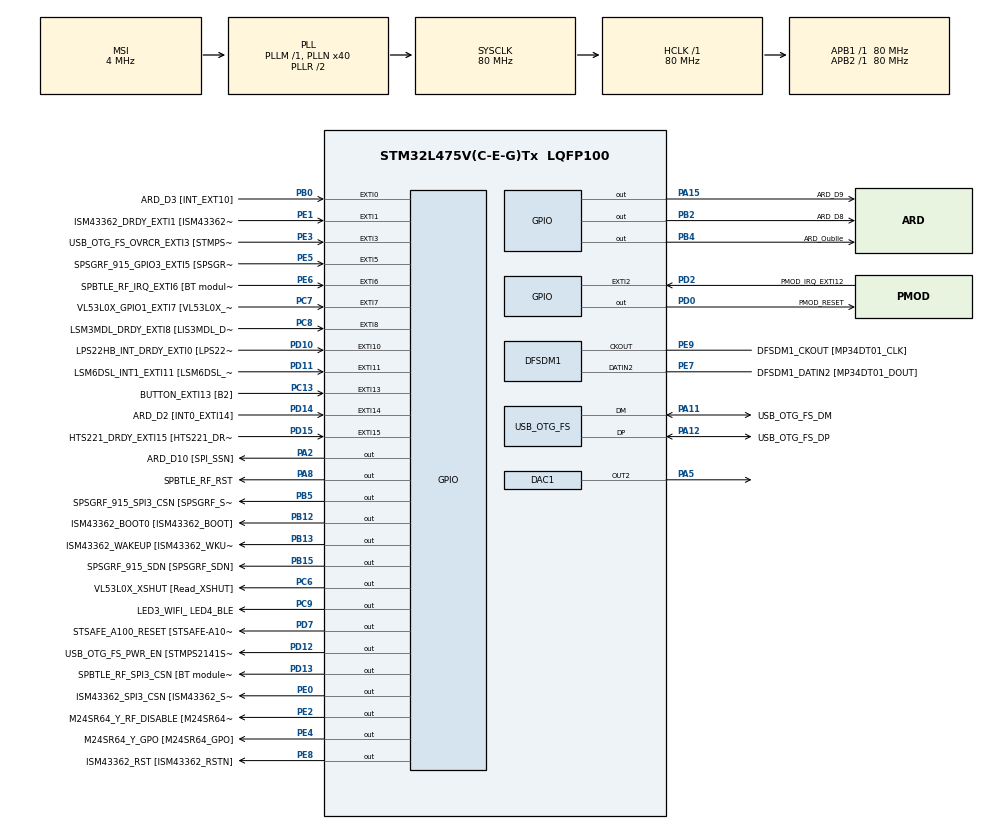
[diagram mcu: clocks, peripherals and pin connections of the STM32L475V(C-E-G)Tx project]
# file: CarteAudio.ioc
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PD12.GPIO_Label=USB_OTG_FS_PWR_EN [STMPS2141STR_EN]
PC12.Signal=SPI3_MOSI
PB14.GPIO_Label=LED2_PWM
PC6.GPIO_Label=VL53L0X_XSHUT [Read_XSHUT]
PA6.GPIO_Label=ARD_D12 [SPI1_MISO]
PB6.GPIO_Label=ST_LINK_UART1_TX
Dma.DFSDM1_FLT1.1.Direction=DMA_PERIPH_TO_MEMORY
PA15\ (JTDI).Signal=GPIO_Output
PC15-OSC32_OUT\ (PC15).Mode=LSE-External-Oscillator
Dma.DFSDM1_FLT0.0.MemDataAlignment=DMA_MDATAALIGN_WORD
PB13.Signal=GPIO_Output
PD6.GPIO_Label=PMOD_UART2_RX
PE6.GPIO_Label=SPBTLE_RF_IRQ_EXTI6 [BT module_SPI_IRQ]
RCC.SYSCLKSource=RCC_SYSCLKSOURCE_PLLCLK
PC14-OSC32_IN\ (PC14).Mode=LSE-External-Oscillator
SH.ADCx_IN16.0=ADC1_IN16
PA14\ (JTCK-SWCLK).Signal=SYS_JTCK-SWCLK
USB_DEVICE.PID_AUDIO_FS=0x5740
Dma.TIM2_UP.3.PeriphInc=DMA_PINC_DISABLE
Dma.TIM2_UP.3.Direction=DMA_PERIPH_TO_MEMORY
PD4.Signal=USART2_RTS
RCC.APB2TimFreq_Value=80000000
PB6.Signal=USART1_TX
PC7.Signal=GPXTI7
PC3.Signal=ADCx_IN4
PD0.Signal=GPIO_Output
PD8.Signal=USART3_TX
PE5.Signal=GPXTI5
PE1.Signal=GPXTI1
NVIC.EXTI15_10_IRQn=true\:0\:0\:false\:false\:true\:true\:true
DFSDM1.Iosr_FIL0=1
PB2.Signal=GPIO_Output
PD1.GPIO_Label=PMOD_SPI2_SCK
PB12.GPIO_Label=ISM43362_BOOT0 [ISM43362_BOOT]
Dma.TIM2_UP.3.Mode=DMA_CIRCULAR
Dma.DFSDM1_FLT0.0.Instance=DMA1_Channel4
PC4.GPIO_Label=ARD_A1 [ADC]
RCC.SAI1CLockSelection=RCC_SAI1CLKSOURCE_PLLSAI2
PE9.Signal=S_CKOUTDFSDM1
PB1.GPIO_Label=ARD_D6 [ADC1_IN6]
PE4.GPIO_Label=M24SR64_Y_GPO [M24SR64_GPO]
PE2.Signal=GPIO_Output
PA8.Signal=GPIO_Output
DFSDM1.Fosr_FIL0=64
PE10.Signal=QUADSPI_CLK
DFSDM1.Fosr_FIL1=64
DFSDM1.Fosr_FIL2=8
PA0.Signal=UART4_TX
Dma.TIM2_UP.3.PeriphDataAlignment=DMA_PDATAALIGN_HALFWORD
Dma.DAC_CH2.2.PeriphDataAlignment=DMA_PDATAALIGN_HALFWORD
Mcu.Package=LQFP100
PB9.Signal=I2C1_SDA
DFSDM1.Trigger_reg_FIL1=DFSDM_FILTER_SYNC_TRIGGER
TIM2.Prescaler=0
PB1.Signal=ADCx_IN16
SH.ADCx_IN14.0=ADC1_IN14
PD12.Signal=GPIO_Output
Dma.DFSDM1_FLT1.1.MemDataAlignment=DMA_MDATAALIGN_WORD
Dma.DFSDM1_FLT1.1.PeriphDataAlignment=DMA_PDATAALIGN_WORD
PA10.Signal=USB_OTG_FS_ID
PE12.GPIO_Label=OQUADSPI_BK1_IO0 [MX25R6435F_IO0]
SH.ADCx_IN9.0=ADC1_IN9
RCC.APB1TimFreq_Value=80000000
Dma.DFSDM1_FLT2.4.MemDataAlignment=DMA_MDATAALIGN_WORD
NVIC.DMA1_Channel4_IRQn=true\:0\:0\:false\:false\:true\:false\:true
Dma.DFSDM1_FLT2.4.Mode=DMA_CIRCULAR
PA13\ (JTMS-SWDIO).Signal=SYS_JTMS-SWDIO
PE10.GPIO_Label=QUADSPI_CLK [MX25R6435F_SCLK]
PA4.GPIO_Label=ARD_D7
PD15.Signal=GPXTI15
Dma.DAC_CH2.2.Direction=DMA_MEMORY_TO_PERIPH
NVIC.DMA1_Channel6_IRQn=true\:0\:0\:false\:false\:true\:false\:true
DAC1.DAC_Channel-DAC_OUT2=DAC_CHANNEL_2
PD9.GPIO_Label=INTERNAL_UART3_RX [ISM43362_TX]
Dma.TIM2_UP.3.MemDataAlignment=DMA_MDATAALIGN_HALFWORD
PA9.GPIO_Label=USB_OTG_FS_VBUS [STMPS2141STR_OUT]
PC13.Signal=GPXTI13
PD3.Signal=USART2_CTS
PC2.Signal=ADCx_IN3
PC6.Signal=GPIO_Output
PB11.GPIO_Label=INTERNAL_I2C2_SDA [VL53L0X_SDA]
Dma.DFSDM1_FLT0.0.Priority=DMA_PRIORITY_VERY_HIGH
PD7.Signal=GPIO_Output
PD1.Signal=SPI2_SCK
PA11.GPIO_Label=USB_OTG_FS_DM
Dma.DFSDM1_FLT1.1.MemInc=DMA_MINC_ENABLE
PC0.Signal=ADCx_IN1
Dma.DFSDM1_FLT1.1.PeriphInc=DMA_PINC_DISABLE
Dma.DFSDM1_FLT2.4.MemInc=DMA_MINC_ENABLE
PD10.Signal=GPXTI10
PB8.GPIO_Label=ARD_D15 [I2C1_SCL]
PA8.GPIO_Label=SPBTLE_RF_RST
DFSDM1.SpiClock_internal_CH1=DFSDM_CHANNEL_SPI_CLOCK_INTERNAL
DFSDM1.SpiClock_internal_CH2=DFSDM_CHANNEL_SPI_CLOCK_INTERNAL
USB_DEVICE.VID=0x483
PE8.GPIO_Label=ISM43362_RST [ISM43362_RSTN]
PA9.Signal=USB_OTG_FS_VBUS
PE9.GPIO_Label=DFSDM1_CKOUT [MP34DT01_CLK]
PB10.Signal=I2C2_SCL
PB14.Signal=S_TIM15_CH1
PA5.Signal=COMP_DAC12_group
PE1.GPIO_Label=ISM43362_DRDY_EXTI1 [ISM43362_DATARDY]
SH.S_TIM15_CH1.0=TIM15_CH1
PE14.Signal=QUADSPI_BK1_IO2
PE15.Signal=QUADSPI_BK1_IO3
PB15.GPIO_Label=SPSGRF_915_SDN [SPSGRF_SDN]
PE8.Signal=GPIO_Output
DFSDM1.Offset_CH2=0
PA1.GPIO_Label=ARD_D0 [UART4_RX]
DFSDM1.Offset_CH1=0
SH.ADCx_IN4.0=ADC1_IN4
TIM2.Period=1666
Dma.DAC_CH2.2.Instance=DMA2_Channel5
PC7.GPIO_Label=VL53L0X_GPIO1_EXTI7 [VL53L0X_GPIO1]
PA13\ (JTMS-SWDIO).Mode=Serial_Wire
PA4.Signal=ADCx_IN9
PB5.Signal=GPIO_Output
PE13.GPIO_Label=QUADSPI_BK1_IO1 [MX25R6435F_IO1]
PD11.Signal=GPXTI11
PE5.GPIO_Label=SPSGRF_915_GPIO3_EXTI5 [SPSGRF_GPIO_3]
PC12.GPIO_Label=INTERNAL_SPI3_MOSI [BT module_SPI_MOSI] [ISM43362_MOSI]
PA11.Signal=USB_OTG_FS_DM
Dma.DAC_CH2.2.Mode=DMA_CIRCULAR
ProjectManager.HeapSize=0x200
DFSDM1.DmaMode_reg_FIL1=ENABLE
Dma.DFSDM1_FLT2.4.Direction=DMA_PERIPH_TO_MEMORY
DFSDM1.DmaMode_reg_FIL2=ENABLE
NVIC.PriorityGroup=NVIC_PRIORITYGROUP_4
DFSDM1.DmaMode_reg_FIL0=ENABLE
PE3.Signal=GPXTI3
DFSDM1.Divider=8
PC3.GPIO_Label=ARD_A2 [ADC]
PB4\ (NJTRST).GPIO_Label=ARD_Oublie
PD2.Signal=GPXTI2
Dma.DAC_CH2.2.PeriphInc=DMA_PINC_DISABLE
PB0.Signal=GPXTI0
PC1.Signal=ADCx_IN2
PD2.GPIO_Label=PMOD_IRQ_EXTI12
Mcu.Family=STM32L4
USB_DEVICE.CLASS_NAME_FS=AUDIO
RCC.CortexFreq_Value=80000000
NVIC.DMA1_Channel5_IRQn=true\:0\:0\:false\:false\:true\:false\:true
SH.COMP_DAC12_group.0=DAC1_OUT2,DAC_OUT2
PE11.GPIO_Label=QUADSPI_NCS [MX25R6435F_SCLK]
SH.ADCx_IN2.0=ADC1_IN2
PC10.Signal=SPI3_SCK
PA0.GPIO_Label=ARD_D1 [UART4_TX]
Dma.DFSDM1_FLT1.1.Mode=DMA_CIRCULAR
PC0.GPIO_Label=ARD_A5 [ADC]
PD0.GPIO_Label=PMOD_RESET
PA11.Mode=Device_Only
PB0.GPIO_Label=ARD_D3 [INT_EXT10]
Dma.DFSDM1_FLT0.0.Mode=DMA_CIRCULAR
PC13.GPIO_Label=BUTTON_EXTI13 [B2]
PB13.GPIO_Label=ISM43362_WAKEUP [ISM43362_WKUP]
PB11.Signal=I2C2_SDA
Dma.DFSDM1_FLT1.1.Instance=DMA1_Channel5
PB15.Signal=GPIO_Output
Dma.TIM2_UP.3.Priority=DMA_PRIORITY_LOW
ProjectManager.StackSize=0x400
PB3\ (JTDO-TRACESWO).Signal=SYS_JTDO-SWO
PD13.Signal=GPIO_Output
Dma.DFSDM1_FLT2.4.Instance=DMA1_Channel6
PA12.Signal=USB_OTG_FS_DP
DFSDM1.Selection=DFSDM_CHANNEL_OUTPUT_CLOCK_AUDIO
PD11.GPIO_Label=LSM6DSL_INT1_EXTI11 [LSM6DSL_INT1]
RCC.HCLKFreq_Value=80000000
SH.ADCx_IN3.0=ADC1_IN3
PB5.PinState=GPIO_PIN_SET
RCC.AHBFreq_Value=80000000
NVIC.DMA2_Channel5_IRQn=true\:0\:0\:false\:false\:true\:false\:true
RCC.HSE_VALUE=8000000
Dma.DFSDM1_FLT0.0.Direction=DMA_PERIPH_TO_MEMORY
Dma.DAC_CH2.2.MemInc=DMA_MINC_ENABLE
DFSDM1.FastMode_reg_FIL2=ENABLE
DFSDM1.FastMode_reg_FIL1=ENABLE
DFSDM1.FastMode_reg_FIL0=ENABLE
PE13.Signal=QUADSPI_BK1_IO1
PC11.GPIO_Label=INTERNAL_SPI3_MISO [BT module_SPI_MISO] [ISM43362_MISO]
PA10.GPIO_Label=USB_OTG_FS_ID
RCC.PLLSAI2N=43
PB7.Signal=USART1_RX
Dma.DFSDM1_FLT2.4.PeriphInc=DMA_PINC_DISABLE
DFSDM1.RightBitShift_CH2=0
DFSDM1.RightBitShift_CH1=0
PE4.Signal=GPIO_Output
PD7.GPIO_Label=STSAFE_A100_RESET [STSAFE-A100_RESET]
PB7.GPIO_Label=ST_LINK_UART1_RX
PD13.GPIO_Label=SPBTLE_RF_SPI3_CSN [BT module_SPI_CS]
PA6.Signal=SPI1_MISO
PD5.GPIO_Label=PMOD_UART2_TX
NVIC.OTG_FS_IRQn=true\:0\:0\:false\:false\:true\:false\:true
PA2.GPIO_Label=ARD_D10 [SPI_SSN]
USB_OTG_FS.VirtualMode=Device_Only
PE0.GPIO_Label=ISM43362_SPI3_CSN [ISM43362_SSN]
TIM2.TIM_MasterOutputTrigger=TIM_TRGO_UPDATE
SH.ADCx_IN1.0=ADC1_IN1
PB5.GPIO_Label=SPSGRF_915_SPI3_CSN [SPSGRF_SPI_CS]
Dma.Request2=DAC_CH2
Dma.Request1=DFSDM1_FLT1
Dma.Request4=DFSDM1_FLT2
Dma.Request3=TIM2_UP
PC5.Signal=ADCx_IN14
PD3.GPIO_Label=PMOD_UART2_CTS
PE7.Signal=S_DATAIN2DFSDM1
Dma.DFSDM1_FLT2.4.Priority=DMA_PRIORITY_HIGH
PD6.Signal=USART2_RX
Dma.Request0=DFSDM1_FLT0
PE2.GPIO_Label=M24SR64_Y_RF_DISABLE [M24SR64_RFDIS]
PC2.GPIO_Label=ARD_A3 [ADC]
Dma.DFSDM1_FLT2.4.PeriphDataAlignment=DMA_PDATAALIGN_WORD
DFSDM1.SincOrder_FIL0=DFSDM_FILTER_SINC3_ORDER
DFSDM1.SincOrder_FIL1=DFSDM_FILTER_SINC3_ORDER
RCC.PLLSAI1P=RCC_PLLP_DIV17
RCC.PLLSAI1N=24
PA3.Signal=S_TIM2_CH4
RCC.MSI_VALUE=4000000
PA14\ (JTCK-SWCLK).Mode=Serial_Wire
VP_DFSDM1_VS_IN3.Mode=Parallel_Input_ch3
SH.ADCx_IN13.0=ADC1_IN13
PD15.GPIO_Label=HTS221_DRDY_EXTI15 [HTS221_DRDY]
PB9.GPIO_Label=ARD_D14 [I2C1_SDA]
Dma.DFSDM1_FLT0.0.PeriphInc=DMA_PINC_DISABLE
PC10.GPIO_Label=INTERNAL_SPI3_SCK [BT module_SPI_SCLK] [ISM43362_SCK]
DFSDM1.FilterOrder_CH1=DFSDM_CHANNEL_FASTSINC_ORDER
PC9.GPIO_Label=LED3_WIFI_ LED4_BLE
USB_DEVICE.VirtualModeFS=Audio_FS
PC11.Signal=SPI3_MISO
SH.S_DATAIN2DFSDM1.1=DFSDM1_DATIN2,PDM_SPI_input_from_ch2_and_internal_clock
PC8.Signal=GPXTI8
PC4.Signal=ADCx_IN13
Dma.DFSDM1_FLT0.0.MemInc=DMA_MINC_ENABLE
SH.S_DATAIN2DFSDM1.0=DFSDM1_DATIN2,PDM_SPI_Input_from_ch12_and_Internal_Clock
Dma.DAC_CH2.2.MemDataAlignment=DMA_MDATAALIGN_HALFWORD
PE14.GPIO_Label=QUAD_SPI_BK1_IO2 [MX25R6435F_IO2]
PC15-OSC32_OUT\ (PC15).Signal=RCC_OSC32_OUT
PD9.Signal=USART3_RX
PD5.Signal=USART2_TX
PA14\ (JTCK-SWCLK).GPIO_Label=SYS_JTCK_SWCLK
PB3\ (JTDO-TRACESWO).GPIO_Label=SYS_JTD0_SWO
Dma.DAC_CH2.2.Priority=DMA_PRIORITY_VERY_HIGH
PA12.GPIO_Label=USB_OTG_FS_DP
PD8.GPIO_Label=INTERNAL_UART3_TX [ISM43362_RX]
PC8.GPIO_Label=LSM3MDL_DRDY_EXTI8 [LIS3MDL_DRDY]
PE0.PinState=GPIO_PIN_SET
PE15.GPIO_Label=QUAD_SPI_BK1_IO3 [MX25R6435F_IO3]
Dma.DFSDM1_FLT0.0.PeriphDataAlignment=DMA_PDATAALIGN_WORD
NVIC.DMA1_Channel2_IRQn=true\:0\:0\:false\:false\:true\:false\:true
ProjectManager.TargetToolchain=STM32CubeIDE
PB10.GPIO_Label=INTERNAL_I2C2_SCL [VL53L0X_SCL]
USB_DEVICE.USBD_AUDIO_FREQ=44000
DFSDM1.Type_spi_CH2=DFSDM_CHANNEL_SPI_FALLING
RCC.USBFreq_Value=48000000
PD10.GPIO_Label=LPS22HB_INT_DRDY_EXTI0 [LPS22HB_INT_DRDY] 
PE11.Signal=QUADSPI_NCS
PA1.Signal=UART4_RX
USB_DEVICE.LANGID_STRING=1033
board=B-L475E-IOT01A2
RCC.VCOOutputFreq_Value=160000000
RCC.APB2Freq_Value=80000000
PA13\ (JTMS-SWDIO).GPIO_Label=SYS_JTMS_SWDIO
VP_TIM2_VS_ClockSourceINT.Mode=Internal
PD4.GPIO_Label=PMOD_UART2_RTS
SH.S_CKOUTDFSDM1.0=DFSDM1_CKOUT,CKOUT
SH.S_CKOUTDFSDM1.1=DFSDM1_CKOUT,PDM_SPI_Input_from_ch12_and_Internal_Clock
RCC.ADCFreq_Value=48000000
PC1.GPIO_Label=ARD_A4 [ADC]
SH.S_CKOUTDFSDM1.2=DFSDM1_CKOUT,PDM_SPI_input_from_ch2_and_internal_clock
PD14.GPIO_Label=ARD_D2 [INT0_EXTI14]
DAC1.DAC_Trigger-DAC_OUT2=DAC_TRIGGER_T2_TRGO
VP_USB_DEVICE_VS_USB_DEVICE_AUDIO_FS.Mode=AUDIO_FS
PE6.Signal=GPXTI6
PA15\ (JTDI).GPIO_Label=ARD_D9
Mcu.Name=STM32L475V(C-E-G)Tx
PE0.Signal=GPIO_Output
PE7.GPIO_Label=DFSDM1_DATIN2 [MP34DT01_DOUT]
PE12.Signal=QUADSPI_BK1_IO0
PA2.Signal=GPIO_Output
Dma.DFSDM1_FLT1.1.Priority=DMA_PRIORITY_VERY_HIGH
PD14.Signal=GPXTI14
RCC.SYSCLKFreq_VALUE=80000000
Dma.TIM2_UP.3.Instance=DMA1_Channel2
PA7.GPIO_Label=ARD_D11 [SPI1_MOSI]
PA12.Mode=Device_Only
PC13.GPIO_ModeDefaultEXTI=GPIO_MODE_IT_FALLING
Dma.TIM2_UP.3.MemInc=DMA_MINC_DISABLE
PC5.GPIO_Label=ARD_A0 [ADC]
PC14-OSC32_IN\ (PC14).Signal=RCC_OSC32_IN
NVIC.EXTI9_5_IRQn=true\:0\:0\:false\:false\:true\:true\:true
PB2.GPIO_Label=ARD_D8
SH.S_TIM2_CH4.0=TIM2_CH4
RCC.HSI_VALUE=16000000
RCC.PLLP=RCC_PLLP_DIV17
RCC.PLLN=40
DFSDM1.Filter_regChannel_FIL3=__NULL
PB8.Signal=I2C1_SCL
DFSDM1.Filter_regChannel_FIL1=DFSDM_CHANNEL_2
PE3.GPIO_Label=USB_OTG_FS_OVRCR_EXTI3 [STMPS2141STR_FAULT]
DFSDM1.Filter_regChannel_FIL2=DFSDM_CHANNEL_3
PC9.Signal=GPIO_Output
PD13.PinState=GPIO_PIN_SET
DFSDM1.Filter_regChannel_FIL0=DFSDM_CHANNEL_1
RCC.APB1Freq_Value=80000000
USB_DEVICE.VirtualMode=Audio
PB12.Signal=GPIO_Output
PA3.GPIO_Label=ARD_D4
PA7.Signal=SPI1_MOSI
PB4\ (NJTRST).Signal=GPIO_Output

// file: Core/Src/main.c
/* USER CODE BEGIN Header */
/**
  ******************************************************************************
  * @file           : main.c
  * @brief          : Main program body
  ******************************************************************************
  * @attention
  *
  * <h2><center>&copy; Copyright (c) 2021 STMicroelectronics.
  * All rights reserved.</center></h2>
  *
  *  Pour la Carte B-L475E-IOTA01A2
  *   Fait un bypass audio  des micro mems vars une sortie audio DAC prendre la
  *   broche D13 du cinnecteur arduino pour brancher un casque
  *
  ******************************************************************************
  */
/* USER CODE END Header */
#include "main.h"
#include "usb_device.h"

DAC_HandleTypeDef hdac1;
DMA_HandleTypeDef hdma_dac_ch2;

DFSDM_Filter_HandleTypeDef hdfsdm1_filter0;
DFSDM_Filter_HandleTypeDef hdfsdm1_filter1;
DFSDM_Filter_HandleTypeDef hdfsdm1_filter2;
DFSDM_Channel_HandleTypeDef hdfsdm1_channel1;
DFSDM_Channel_HandleTypeDef hdfsdm1_channel2;
DFSDM_Channel_HandleTypeDef hdfsdm1_channel3;
DMA_HandleTypeDef hdma_dfsdm1_flt0;
DMA_HandleTypeDef hdma_dfsdm1_flt1;
DMA_HandleTypeDef hdma_dfsdm1_flt2;

TIM_HandleTypeDef htim2;
DMA_HandleTypeDef hdma_tim2_up;

/* USER CODE BEGIN PV */
u_int32_t duty =0xCACAACDC;
u_int32_t canari = 0xD0D0ABBA;
#define BUFF_LEN 8U
int32_t  buffin_0[BUFF_LEN];
int32_t  buffin_1[BUFF_LEN];
u_int16_t  buffout[BUFF_LEN];
int32_t  buffoutmoy[BUFF_LEN];

#define CONV_S32L_U32L(s) ( (u_int32_t) (s+(1<<31)) )
#define CONV_S32L_U16L(s) ( (u_int16_t) ((s>>9)+0x1000)  )
#define CONV_S32L_U32R(s) ( 0x3FF & ((u_int32_t) ( (s+(1<<(8+11))) >> 8)) )
#define CONV_S32L_U16R(s) ( 0x3FF & ((u_int16_t) ( (s+(1<<(8+11))) >> 9)) )
#define CONVERSION(s) CONV_S32L_U16L(s)
#define CONV_DAC_ALIGN DAC_ALIGN_12B_R
//#define AUDIO_DFSDM
// pour passer de la gestion des micro par le audio_in_out
// Commenté -> utilisation de la def des périph venant de CubeMX dans ce main
#ifndef AUDIO_DFSDM
void HAL_DFSDM_FilterRegConvCpltCallback(DFSDM_Filter_HandleTypeDef *hdfsdm_filter)
{
	if (hdfsdm_filter == & hdfsdm1_filter0)
	{
		for (u_int8_t i=(BUFF_LEN/2);i<BUFF_LEN;i++)
		{
			buffout[i]=CONVERSION(buffin_0[i]);
		}

	}
}

void HAL_DFSDM_FilterRegConvHalfCpltCallback(DFSDM_Filter_HandleTypeDef *hdfsdm_filter)
{
	if (hdfsdm_filter == & hdfsdm1_filter0)
	{
		for (u_int8_t i=0; i<(BUFF_LEN/2); i++)
		{
			buffout[i]=CONVERSION(buffin_0[i]);
		}

	}
}
#endif
/* USER CODE END PV */

void SystemClock_Config(void);
static void MX_GPIO_Init(void);
static void MX_DMA_Init(void);
static void MX_DFSDM1_Init(void);
static void MX_DAC1_Init(void);
static void MX_TIM2_Init(void);
/* USER CODE BEGIN PFP */
static HAL_StatusTypeDef HALSUCKS_TIM_Base_Start_DMA(TIM_HandleTypeDef *, uint32_t *, uint32_t*, uint16_t);
// Cube MX ne génère qu'un code qui fait un transfert DMA de Meme vers TIM_ARR LES NULS !
// Alors j'ai repris et refait aves une adresse source et une cible déclenché par TIM2_UP
/* USER CODE END PFP */

int main(void)
{

  /* MCU Configuration--------------------------------------------------------*/

  /* Reset of all peripherals, Initializes the Flash interface and the Systick. */
  HAL_Init();

  /* Configure the system clock */
  SystemClock_Config();

  /* Initialize all configured peripherals */
  MX_GPIO_Init();
  MX_DMA_Init();
  MX_DFSDM1_Init();
  MX_USB_DEVICE_Init();
  MX_DAC1_Init();
  MX_TIM2_Init();
  /* USER CODE BEGIN 2 */
  // c'était pour faire une sortie PWM sur la LED2...
  //__HAL_TIM_MOE_ENABLE(&htim15);
  //BSP_LED_Init(LED2);
  /* USER CODE END 2 */

  /* Infinite loop */
  /* USER CODE BEGIN WHILE */
  HAL_DAC_Start_DMA(&hdac1, DAC_CHANNEL_2, (u_int32_t *)&(buffout[0]),BUFF_LEN, CONV_DAC_ALIGN);
  HALSUCKS_TIM_Base_Start_DMA(&htim2,  (uint32_t *)&(hdfsdm1_filter0.Instance->FLTRDATAR), (u_int32_t *) &(hdfsdm1_channel3.Instance->CHDATINR),1);
  HAL_DFSDM_FilterRegularStart_DMA(&hdfsdm1_filter2, &(buffoutmoy[0]), BUFF_LEN);
  HAL_DFSDM_FilterRegularStart_DMA(&hdfsdm1_filter1, &(buffin_1[0]), BUFF_LEN);
  HAL_DFSDM_FilterRegularStart_DMA(&hdfsdm1_filter0, &(buffin_0[0]), BUFF_LEN);
  HAL_DAC_Start(&hdac1, DAC_CHANNEL_2);
  HAL_TIM_Base_Start(&htim2);

  while (1)
  {
	//HAL_Delay(1);

    /* USER CODE END WHILE */

  }
}

void SystemClock_Config(void)
{
  RCC_OscInitTypeDef RCC_OscInitStruct = {0};
  RCC_ClkInitTypeDef RCC_ClkInitStruct = {0};
  RCC_PeriphCLKInitTypeDef PeriphClkInit = {0};

  /** Configure LSE Drive Capability
  */
  HAL_PWR_EnableBkUpAccess();
  __HAL_RCC_LSEDRIVE_CONFIG(RCC_LSEDRIVE_LOW);
  /** Initializes the RCC Oscillators according to the specified parameters
  * in the RCC_OscInitTypeDef structure.
  */
  RCC_OscInitStruct.OscillatorType = RCC_OSCILLATORTYPE_LSE|RCC_OSCILLATORTYPE_MSI;
  RCC_OscInitStruct.LSEState = RCC_LSE_ON;
  RCC_OscInitStruct.MSIState = RCC_MSI_ON;
  RCC_OscInitStruct.MSICalibrationValue = 0;
  RCC_OscInitStruct.MSIClockRange = RCC_MSIRANGE_6;
  RCC_OscInitStruct.PLL.PLLState = RCC_PLL_ON;
  RCC_OscInitStruct.PLL.PLLSource = RCC_PLLSOURCE_MSI;
  RCC_OscInitStruct.PLL.PLLM = 1;
  RCC_OscInitStruct.PLL.PLLN = 40;
  RCC_OscInitStruct.PLL.PLLP = RCC_PLLP_DIV17;
  RCC_OscInitStruct.PLL.PLLQ = RCC_PLLQ_DIV2;
  RCC_OscInitStruct.PLL.PLLR = RCC_PLLR_DIV2;
  if (HAL_RCC_OscConfig(&RCC_OscInitStruct) != HAL_OK)
  {
    Error_Handler();
  }
  /** Initializes the CPU, AHB and APB buses clocks
  */
  RCC_ClkInitStruct.ClockType = RCC_CLOCKTYPE_HCLK|RCC_CLOCKTYPE_SYSCLK
                              |RCC_CLOCKTYPE_PCLK1|RCC_CLOCKTYPE_PCLK2;
  RCC_ClkInitStruct.SYSCLKSource = RCC_SYSCLKSOURCE_PLLCLK;
  RCC_ClkInitStruct.AHBCLKDivider = RCC_SYSCLK_DIV1;
  RCC_ClkInitStruct.APB1CLKDivider = RCC_HCLK_DIV1;
  RCC_ClkInitStruct.APB2CLKDivider = RCC_HCLK_DIV1;

  if (HAL_RCC_ClockConfig(&RCC_ClkInitStruct, FLASH_LATENCY_4) != HAL_OK)
  {
    Error_Handler();
  }
  PeriphClkInit.PeriphClockSelection = RCC_PERIPHCLK_SAI1|RCC_PERIPHCLK_DFSDM1
                              |RCC_PERIPHCLK_USB;
  PeriphClkInit.Sai1ClockSelection = RCC_SAI1CLKSOURCE_PLLSAI2;
  PeriphClkInit.Dfsdm1ClockSelection = RCC_DFSDM1CLKSOURCE_PCLK;
  PeriphClkInit.UsbClockSelection = RCC_USBCLKSOURCE_PLLSAI1;
  PeriphClkInit.PLLSAI2.PLLSAI2Source = RCC_PLLSOURCE_MSI;
  PeriphClkInit.PLLSAI2.PLLSAI2M = 1;
  PeriphClkInit.PLLSAI2.PLLSAI2N = 43;
  PeriphClkInit.PLLSAI2.PLLSAI2P = RCC_PLLP_DIV7;
  PeriphClkInit.PLLSAI2.PLLSAI2R = RCC_PLLR_DIV2;
  PeriphClkInit.PLLSAI2.PLLSAI2ClockOut = RCC_PLLSAI2_SAI2CLK;
  PeriphClkInit.PLLSAI1.PLLSAI1Source = RCC_PLLSOURCE_MSI;
  PeriphClkInit.PLLSAI1.PLLSAI1M = 1;
  PeriphClkInit.PLLSAI1.PLLSAI1N = 24;
  PeriphClkInit.PLLSAI1.PLLSAI1P = RCC_PLLP_DIV17;
  PeriphClkInit.PLLSAI1.PLLSAI1Q = RCC_PLLQ_DIV2;
  PeriphClkInit.PLLSAI1.PLLSAI1R = RCC_PLLR_DIV2;
  PeriphClkInit.PLLSAI1.PLLSAI1ClockOut = RCC_PLLSAI1_48M2CLK;
  if (HAL_RCCEx_PeriphCLKConfig(&PeriphClkInit) != HAL_OK)
  {
    Error_Handler();
  }
  /** Configure the main internal regulator output voltage
  */
  if (HAL_PWREx_ControlVoltageScaling(PWR_REGULATOR_VOLTAGE_SCALE1) != HAL_OK)
  {
    Error_Handler();
  }
  /** Enable MSI Auto calibration
  */
  HAL_RCCEx_EnableMSIPLLMode();
}

static void MX_DAC1_Init(void)
{

  DAC_ChannelConfTypeDef sConfig = {0};

  /** DAC Initialization
  */
  hdac1.Instance = DAC1;
  if (HAL_DAC_Init(&hdac1) != HAL_OK)
  {
    Error_Handler();
  }
  /** DAC channel OUT2 config
  */
  sConfig.DAC_SampleAndHold = DAC_SAMPLEANDHOLD_DISABLE;
  sConfig.DAC_Trigger = DAC_TRIGGER_T2_TRGO;
  sConfig.DAC_OutputBuffer = DAC_OUTPUTBUFFER_ENABLE;
  sConfig.DAC_ConnectOnChipPeripheral = DAC_CHIPCONNECT_DISABLE;
  sConfig.DAC_UserTrimming = DAC_TRIMMING_FACTORY;
  if (HAL_DAC_ConfigChannel(&hdac1, &sConfig, DAC_CHANNEL_2) != HAL_OK)
  {
    Error_Handler();
  }

}

static void MX_DFSDM1_Init(void)
{

  hdfsdm1_filter0.Instance = DFSDM1_Filter0;
  hdfsdm1_filter0.Init.RegularParam.Trigger = DFSDM_FILTER_SW_TRIGGER;
  hdfsdm1_filter0.Init.RegularParam.FastMode = ENABLE;
  hdfsdm1_filter0.Init.RegularParam.DmaMode = ENABLE;
  hdfsdm1_filter0.Init.FilterParam.SincOrder = DFSDM_FILTER_SINC3_ORDER;
  hdfsdm1_filter0.Init.FilterParam.Oversampling = 64;
  hdfsdm1_filter0.Init.FilterParam.IntOversampling = 1;
  if (HAL_DFSDM_FilterInit(&hdfsdm1_filter0) != HAL_OK)
  {
    Error_Handler();
  }
  hdfsdm1_filter1.Instance = DFSDM1_Filter1;
  hdfsdm1_filter1.Init.RegularParam.Trigger = DFSDM_FILTER_SYNC_TRIGGER;
  hdfsdm1_filter1.Init.RegularParam.FastMode = ENABLE;
  hdfsdm1_filter1.Init.RegularParam.DmaMode = ENABLE;
  hdfsdm1_filter1.Init.FilterParam.SincOrder = DFSDM_FILTER_SINC3_ORDER;
  hdfsdm1_filter1.Init.FilterParam.Oversampling = 64;
  hdfsdm1_filter1.Init.FilterParam.IntOversampling = 1;
  if (HAL_DFSDM_FilterInit(&hdfsdm1_filter1) != HAL_OK)
  {
    Error_Handler();
  }
  hdfsdm1_filter2.Instance = DFSDM1_Filter2;
  hdfsdm1_filter2.Init.RegularParam.Trigger = DFSDM_FILTER_SW_TRIGGER;
  hdfsdm1_filter2.Init.RegularParam.FastMode = ENABLE;
  hdfsdm1_filter2.Init.RegularParam.DmaMode = ENABLE;
  hdfsdm1_filter2.Init.FilterParam.SincOrder = DFSDM_FILTER_FASTSINC_ORDER;
  hdfsdm1_filter2.Init.FilterParam.Oversampling = 8;
  hdfsdm1_filter2.Init.FilterParam.IntOversampling = 1;
  if (HAL_DFSDM_FilterInit(&hdfsdm1_filter2) != HAL_OK)
  {
    Error_Handler();
  }
  hdfsdm1_channel1.Instance = DFSDM1_Channel1;
  hdfsdm1_channel1.Init.OutputClock.Activation = ENABLE;
  hdfsdm1_channel1.Init.OutputClock.Selection = DFSDM_CHANNEL_OUTPUT_CLOCK_AUDIO;
  hdfsdm1_channel1.Init.OutputClock.Divider = 8;
  hdfsdm1_channel1.Init.Input.Multiplexer = DFSDM_CHANNEL_EXTERNAL_INPUTS;
  hdfsdm1_channel1.Init.Input.DataPacking = DFSDM_CHANNEL_STANDARD_MODE;
  hdfsdm1_channel1.Init.Input.Pins = DFSDM_CHANNEL_FOLLOWING_CHANNEL_PINS;
  hdfsdm1_channel1.Init.SerialInterface.Type = DFSDM_CHANNEL_SPI_RISING;
  hdfsdm1_channel1.Init.SerialInterface.SpiClock = DFSDM_CHANNEL_SPI_CLOCK_INTERNAL;
  hdfsdm1_channel1.Init.Awd.FilterOrder = DFSDM_CHANNEL_FASTSINC_ORDER;
  hdfsdm1_channel1.Init.Awd.Oversampling = 1;
  hdfsdm1_channel1.Init.Offset = 0;
  hdfsdm1_channel1.Init.RightBitShift = 0;
  if (HAL_DFSDM_ChannelInit(&hdfsdm1_channel1) != HAL_OK)
  {
    Error_Handler();
  }
  hdfsdm1_channel2.Instance = DFSDM1_Channel2;
  hdfsdm1_channel2.Init.OutputClock.Activation = ENABLE;
  hdfsdm1_channel2.Init.OutputClock.Selection = DFSDM_CHANNEL_OUTPUT_CLOCK_AUDIO;
  hdfsdm1_channel2.Init.OutputClock.Divider = 8;
  hdfsdm1_channel2.Init.Input.Multiplexer = DFSDM_CHANNEL_EXTERNAL_INPUTS;
  hdfsdm1_channel2.Init.Input.DataPacking = DFSDM_CHANNEL_STANDARD_MODE;
  hdfsdm1_channel2.Init.Input.Pins = DFSDM_CHANNEL_SAME_CHANNEL_PINS;
  hdfsdm1_channel2.Init.SerialInterface.Type = DFSDM_CHANNEL_SPI_FALLING;
  hdfsdm1_channel2.Init.SerialInterface.SpiClock = DFSDM_CHANNEL_SPI_CLOCK_INTERNAL;
  hdfsdm1_channel2.Init.Awd.FilterOrder = DFSDM_CHANNEL_FASTSINC_ORDER;
  hdfsdm1_channel2.Init.Awd.Oversampling = 1;
  hdfsdm1_channel2.Init.Offset = 0;
  hdfsdm1_channel2.Init.RightBitShift = 0;
  if (HAL_DFSDM_ChannelInit(&hdfsdm1_channel2) != HAL_OK)
  {
    Error_Handler();
  }
  hdfsdm1_channel3.Instance = DFSDM1_Channel3;
  hdfsdm1_channel3.Init.OutputClock.Activation = ENABLE;
  hdfsdm1_channel3.Init.OutputClock.Selection = DFSDM_CHANNEL_OUTPUT_CLOCK_AUDIO;
  hdfsdm1_channel3.Init.OutputClock.Divider = 8;
  hdfsdm1_channel3.Init.Input.Multiplexer = DFSDM_CHANNEL_INTERNAL_REGISTER;
  hdfsdm1_channel3.Init.Input.DataPacking = DFSDM_CHANNEL_STANDARD_MODE;
  hdfsdm1_channel3.Init.Input.Pins = DFSDM_CHANNEL_SAME_CHANNEL_PINS;
  hdfsdm1_channel3.Init.SerialInterface.Type = DFSDM_CHANNEL_SPI_RISING;
  hdfsdm1_channel3.Init.SerialInterface.SpiClock = DFSDM_CHANNEL_SPI_CLOCK_EXTERNAL;
  hdfsdm1_channel3.Init.Awd.FilterOrder = DFSDM_CHANNEL_FASTSINC_ORDER;
  hdfsdm1_channel3.Init.Awd.Oversampling = 1;
  hdfsdm1_channel3.Init.Offset = 0x00;
  hdfsdm1_channel3.Init.RightBitShift = 0x00;
  if (HAL_DFSDM_ChannelInit(&hdfsdm1_channel3) != HAL_OK)
  {
    Error_Handler();
  }
  if (HAL_DFSDM_FilterConfigRegChannel(&hdfsdm1_filter0, DFSDM_CHANNEL_1, DFSDM_CONTINUOUS_CONV_ON) != HAL_OK)
  {
    Error_Handler();
  }
  if (HAL_DFSDM_FilterConfigRegChannel(&hdfsdm1_filter1, DFSDM_CHANNEL_2, DFSDM_CONTINUOUS_CONV_ON) != HAL_OK)
  {
    Error_Handler();
  }
  if (HAL_DFSDM_FilterConfigRegChannel(&hdfsdm1_filter2, DFSDM_CHANNEL_3, DFSDM_CONTINUOUS_CONV_ON) != HAL_OK)
  {
    Error_Handler();
  }

}

static void MX_TIM2_Init(void)
{

  TIM_ClockConfigTypeDef sClockSourceConfig = {0};
  TIM_MasterConfigTypeDef sMasterConfig = {0};

  htim2.Instance = TIM2;
  htim2.Init.Prescaler = 0;
  htim2.Init.CounterMode = TIM_COUNTERMODE_UP;
  htim2.Init.Period = 1666;
  htim2.Init.ClockDivision = TIM_CLOCKDIVISION_DIV1;
  htim2.Init.AutoReloadPreload = TIM_AUTORELOAD_PRELOAD_DISABLE;
  if (HAL_TIM_Base_Init(&htim2) != HAL_OK)
  {
    Error_Handler();
  }
  sClockSourceConfig.ClockSource = TIM_CLOCKSOURCE_INTERNAL;
  if (HAL_TIM_ConfigClockSource(&htim2, &sClockSourceConfig) != HAL_OK)
  {
    Error_Handler();
  }
  sMasterConfig.MasterOutputTrigger = TIM_TRGO_UPDATE;
  sMasterConfig.MasterSlaveMode = TIM_MASTERSLAVEMODE_DISABLE;
  if (HAL_TIMEx_MasterConfigSynchronization(&htim2, &sMasterConfig) != HAL_OK)
  {
    Error_Handler();
  }

}

static void MX_DMA_Init(void)
{

  /* DMA controller clock enable */
  __HAL_RCC_DMA1_CLK_ENABLE();
  __HAL_RCC_DMA2_CLK_ENABLE();

  /* DMA interrupt init */
  /* DMA1_Channel2_IRQn interrupt configuration */
  HAL_NVIC_SetPriority(DMA1_Channel2_IRQn, 0, 0);
  HAL_NVIC_EnableIRQ(DMA1_Channel2_IRQn);
  /* DMA1_Channel4_IRQn interrupt configuration */
  HAL_NVIC_SetPriority(DMA1_Channel4_IRQn, 0, 0);
  HAL_NVIC_EnableIRQ(DMA1_Channel4_IRQn);
  /* DMA1_Channel5_IRQn interrupt configuration */
  HAL_NVIC_SetPriority(DMA1_Channel5_IRQn, 0, 0);
  HAL_NVIC_EnableIRQ(DMA1_Channel5_IRQn);
  /* DMA1_Channel6_IRQn interrupt configuration */
  HAL_NVIC_SetPriority(DMA1_Channel6_IRQn, 0, 0);
  HAL_NVIC_EnableIRQ(DMA1_Channel6_IRQn);
  /* DMA2_Channel5_IRQn interrupt configuration */
  HAL_NVIC_SetPriority(DMA2_Channel5_IRQn, 0, 0);
  HAL_NVIC_EnableIRQ(DMA2_Channel5_IRQn);

}

static void MX_GPIO_Init(void)
{
  GPIO_InitTypeDef GPIO_InitStruct = {0};

  /* GPIO Ports Clock Enable */
  __HAL_RCC_GPIOE_CLK_ENABLE();
  __HAL_RCC_GPIOC_CLK_ENABLE();
  __HAL_RCC_GPIOA_CLK_ENABLE();
  __HAL_RCC_GPIOB_CLK_ENABLE();
  __HAL_RCC_GPIOD_CLK_ENABLE();

  /*Configure GPIO pin Output Level */
  HAL_GPIO_WritePin(GPIOE, M24SR64_Y_RF_DISABLE_Pin|M24SR64_Y_GPO_Pin|ISM43362_RST_Pin, GPIO_PIN_RESET);

  /*Configure GPIO pin Output Level */
  HAL_GPIO_WritePin(GPIOA, ARD_D10_Pin|SPBTLE_RF_RST_Pin|ARD_D9_Pin, GPIO_PIN_RESET);

  /*Configure GPIO pin Output Level */
  HAL_GPIO_WritePin(GPIOB, ARD_D8_Pin|ISM43362_BOOT0_Pin|ISM43362_WAKEUP_Pin|SPSGRF_915_SDN_Pin
                          |ARD_Oublie_Pin, GPIO_PIN_RESET);

  /*Configure GPIO pin Output Level */
  HAL_GPIO_WritePin(GPIOD, USB_OTG_FS_PWR_EN_Pin|PMOD_RESET_Pin|STSAFE_A100_RESET_Pin, GPIO_PIN_RESET);

  /*Configure GPIO pin Output Level */
  HAL_GPIO_WritePin(SPBTLE_RF_SPI3_CSN_GPIO_Port, SPBTLE_RF_SPI3_CSN_Pin, GPIO_PIN_SET);

  /*Configure GPIO pin Output Level */
  HAL_GPIO_WritePin(GPIOC, VL53L0X_XSHUT_Pin|LED3_WIFI__LED4_BLE_Pin, GPIO_PIN_RESET);

  /*Configure GPIO pin Output Level */
  HAL_GPIO_WritePin(SPSGRF_915_SPI3_CSN_GPIO_Port, SPSGRF_915_SPI3_CSN_Pin, GPIO_PIN_SET);

  /*Configure GPIO pin Output Level */
  HAL_GPIO_WritePin(ISM43362_SPI3_CSN_GPIO_Port, ISM43362_SPI3_CSN_Pin, GPIO_PIN_SET);

  /*Configure GPIO pins : M24SR64_Y_RF_DISABLE_Pin M24SR64_Y_GPO_Pin ISM43362_RST_Pin ISM43362_SPI3_CSN_Pin */
  GPIO_InitStruct.Pin = M24SR64_Y_RF_DISABLE_Pin|M24SR64_Y_GPO_Pin|ISM43362_RST_Pin|ISM43362_SPI3_CSN_Pin;
  GPIO_InitStruct.Mode = GPIO_MODE_OUTPUT_PP;
  GPIO_InitStruct.Pull = GPIO_NOPULL;
  GPIO_InitStruct.Speed = GPIO_SPEED_FREQ_LOW;
  HAL_GPIO_Init(GPIOE, &GPIO_InitStruct);

  /*Configure GPIO pins : USB_OTG_FS_OVRCR_EXTI3_Pin SPSGRF_915_GPIO3_EXTI5_Pin SPBTLE_RF_IRQ_EXTI6_Pin ISM43362_DRDY_EXTI1_Pin */
  GPIO_InitStruct.Pin = USB_OTG_FS_OVRCR_EXTI3_Pin|SPSGRF_915_GPIO3_EXTI5_Pin|SPBTLE_RF_IRQ_EXTI6_Pin|ISM43362_DRDY_EXTI1_Pin;
  GPIO_InitStruct.Mode = GPIO_MODE_IT_RISING;
  GPIO_InitStruct.Pull = GPIO_NOPULL;
  HAL_GPIO_Init(GPIOE, &GPIO_InitStruct);

  /*Configure GPIO pin : BUTTON_EXTI13_Pin */
  GPIO_InitStruct.Pin = BUTTON_EXTI13_Pin;
  GPIO_InitStruct.Mode = GPIO_MODE_IT_FALLING;
  GPIO_InitStruct.Pull = GPIO_NOPULL;
  HAL_GPIO_Init(BUTTON_EXTI13_GPIO_Port, &GPIO_InitStruct);

  /*Configure GPIO pins : ARD_A5_Pin ARD_A4_Pin ARD_A3_Pin ARD_A2_Pin
                           ARD_A1_Pin ARD_A0_Pin */
  GPIO_InitStruct.Pin = ARD_A5_Pin|ARD_A4_Pin|ARD_A3_Pin|ARD_A2_Pin
                          |ARD_A1_Pin|ARD_A0_Pin;
  GPIO_InitStruct.Mode = GPIO_MODE_ANALOG_ADC_CONTROL;
  GPIO_InitStruct.Pull = GPIO_NOPULL;
  HAL_GPIO_Init(GPIOC, &GPIO_InitStruct);

  /*Configure GPIO pins : ARD_D1_Pin ARD_D0_Pin */
  GPIO_InitStruct.Pin = ARD_D1_Pin|ARD_D0_Pin;
  GPIO_InitStruct.Mode = GPIO_MODE_AF_PP;
  GPIO_InitStruct.Pull = GPIO_NOPULL;
  GPIO_InitStruct.Speed = GPIO_SPEED_FREQ_VERY_HIGH;
  GPIO_InitStruct.Alternate = GPIO_AF8_UART4;
  HAL_GPIO_Init(GPIOA, &GPIO_InitStruct);

  /*Configure GPIO pins : ARD_D10_Pin SPBTLE_RF_RST_Pin ARD_D9_Pin */
  GPIO_InitStruct.Pin = ARD_D10_Pin|SPBTLE_RF_RST_Pin|ARD_D9_Pin;
  GPIO_InitStruct.Mode = GPIO_MODE_OUTPUT_PP;
  GPIO_InitStruct.Pull = GPIO_NOPULL;
  GPIO_InitStruct.Speed = GPIO_SPEED_FREQ_LOW;
  HAL_GPIO_Init(GPIOA, &GPIO_InitStruct);

  /*Configure GPIO pin : ARD_D7_Pin */
  GPIO_InitStruct.Pin = ARD_D7_Pin;
  GPIO_InitStruct.Mode = GPIO_MODE_ANALOG_ADC_CONTROL;
  GPIO_InitStruct.Pull = GPIO_NOPULL;
  HAL_GPIO_Init(ARD_D7_GPIO_Port, &GPIO_InitStruct);

  /*Configure GPIO pins : ARD_D12_Pin ARD_D11_Pin */
  GPIO_InitStruct.Pin = ARD_D12_Pin|ARD_D11_Pin;
  GPIO_InitStruct.Mode = GPIO_MODE_AF_PP;
  GPIO_InitStruct.Pull = GPIO_NOPULL;
  GPIO_InitStruct.Speed = GPIO_SPEED_FREQ_VERY_HIGH;
  GPIO_InitStruct.Alternate = GPIO_AF5_SPI1;
  HAL_GPIO_Init(GPIOA, &GPIO_InitStruct);

  /*Configure GPIO pin : ARD_D3_Pin */
  GPIO_InitStruct.Pin = ARD_D3_Pin;
  GPIO_InitStruct.Mode = GPIO_MODE_IT_RISING;
  GPIO_InitStruct.Pull = GPIO_NOPULL;
  HAL_GPIO_Init(ARD_D3_GPIO_Port, &GPIO_InitStruct);

  /*Configure GPIO pin : ARD_D6_Pin */
  GPIO_InitStruct.Pin = ARD_D6_Pin;
  GPIO_InitStruct.Mode = GPIO_MODE_ANALOG_ADC_CONTROL;
  GPIO_InitStruct.Pull = GPIO_NOPULL;
  HAL_GPIO_Init(ARD_D6_GPIO_Port, &GPIO_InitStruct);

  /*Configure GPIO pins : ARD_D8_Pin ISM43362_BOOT0_Pin ISM43362_WAKEUP_Pin SPSGRF_915_SDN_Pin
                           ARD_Oublie_Pin SPSGRF_915_SPI3_CSN_Pin */
  GPIO_InitStruct.Pin = ARD_D8_Pin|ISM43362_BOOT0_Pin|ISM43362_WAKEUP_Pin|SPSGRF_915_SDN_Pin
                          |ARD_Oublie_Pin|SPSGRF_915_SPI3_CSN_Pin;
  GPIO_InitStruct.Mode = GPIO_MODE_OUTPUT_PP;
  GPIO_InitStruct.Pull = GPIO_NOPULL;
  GPIO_InitStruct.Speed = GPIO_SPEED_FREQ_LOW;
  HAL_GPIO_Init(GPIOB, &GPIO_InitStruct);

  /*Configure GPIO pins : QUADSPI_CLK_Pin QUADSPI_NCS_Pin OQUADSPI_BK1_IO0_Pin QUADSPI_BK1_IO1_Pin
                           QUAD_SPI_BK1_IO2_Pin QUAD_SPI_BK1_IO3_Pin */
  GPIO_InitStruct.Pin = QUADSPI_CLK_Pin|QUADSPI_NCS_Pin|OQUADSPI_BK1_IO0_Pin|QUADSPI_BK1_IO1_Pin
                          |QUAD_SPI_BK1_IO2_Pin|QUAD_SPI_BK1_IO3_Pin;
  GPIO_InitStruct.Mode = GPIO_MODE_AF_PP;
  GPIO_InitStruct.Pull = GPIO_NOPULL;
  GPIO_InitStruct.Speed = GPIO_SPEED_FREQ_VERY_HIGH;
  GPIO_InitStruct.Alternate = GPIO_AF10_QUADSPI;
  HAL_GPIO_Init(GPIOE, &GPIO_InitStruct);

  /*Configure GPIO pins : INTERNAL_I2C2_SCL_Pin INTERNAL_I2C2_SDA_Pin */
  GPIO_InitStruct.Pin = INTERNAL_I2C2_SCL_Pin|INTERNAL_I2C2_SDA_Pin;
  GPIO_InitStruct.Mode = GPIO_MODE_AF_OD;
  GPIO_InitStruct.Pull = GPIO_PULLUP;
  GPIO_InitStruct.Speed = GPIO_SPEED_FREQ_VERY_HIGH;
  GPIO_InitStruct.Alternate = GPIO_AF4_I2C2;
  HAL_GPIO_Init(GPIOB, &GPIO_InitStruct);

  /*Configure GPIO pin : LED2_PWM_Pin */
  GPIO_InitStruct.Pin = LED2_PWM_Pin;
  GPIO_InitStruct.Mode = GPIO_MODE_AF_PP;
  GPIO_InitStruct.Pull = GPIO_NOPULL;
  GPIO_InitStruct.Speed = GPIO_SPEED_FREQ_LOW;
  GPIO_InitStruct.Alternate = GPIO_AF14_TIM15;
  HAL_GPIO_Init(LED2_PWM_GPIO_Port, &GPIO_InitStruct);

  /*Configure GPIO pins : INTERNAL_UART3_TX_Pin INTERNAL_UART3_RX_Pin */
  GPIO_InitStruct.Pin = INTERNAL_UART3_TX_Pin|INTERNAL_UART3_RX_Pin;
  GPIO_InitStruct.Mode = GPIO_MODE_AF_PP;
  GPIO_InitStruct.Pull = GPIO_NOPULL;
  GPIO_InitStruct.Speed = GPIO_SPEED_FREQ_VERY_HIGH;
  GPIO_InitStruct.Alternate = GPIO_AF7_USART3;
  HAL_GPIO_Init(GPIOD, &GPIO_InitStruct);

  /*Configure GPIO pins : LPS22HB_INT_DRDY_EXTI0_Pin LSM6DSL_INT1_EXTI11_Pin ARD_D2_Pin HTS221_DRDY_EXTI15_Pin
                           PMOD_IRQ_EXTI12_Pin */
  GPIO_InitStruct.Pin = LPS22HB_INT_DRDY_EXTI0_Pin|LSM6DSL_INT1_EXTI11_Pin|ARD_D2_Pin|HTS221_DRDY_EXTI15_Pin
                          |PMOD_IRQ_EXTI12_Pin;
  GPIO_InitStruct.Mode = GPIO_MODE_IT_RISING;
  GPIO_InitStruct.Pull = GPIO_NOPULL;
  HAL_GPIO_Init(GPIOD, &GPIO_InitStruct);

  /*Configure GPIO pins : USB_OTG_FS_PWR_EN_Pin SPBTLE_RF_SPI3_CSN_Pin PMOD_RESET_Pin STSAFE_A100_RESET_Pin */
  GPIO_InitStruct.Pin = USB_OTG_FS_PWR_EN_Pin|SPBTLE_RF_SPI3_CSN_Pin|PMOD_RESET_Pin|STSAFE_A100_RESET_Pin;
  GPIO_InitStruct.Mode = GPIO_MODE_OUTPUT_PP;
  GPIO_InitStruct.Pull = GPIO_NOPULL;
  GPIO_InitStruct.Speed = GPIO_SPEED_FREQ_LOW;
  HAL_GPIO_Init(GPIOD, &GPIO_InitStruct);

  /*Configure GPIO pins : VL53L0X_XSHUT_Pin LED3_WIFI__LED4_BLE_Pin */
  GPIO_InitStruct.Pin = VL53L0X_XSHUT_Pin|LED3_WIFI__LED4_BLE_Pin;
  GPIO_InitStruct.Mode = GPIO_MODE_OUTPUT_PP;
  GPIO_InitStruct.Pull = GPIO_NOPULL;
  GPIO_InitStruct.Speed = GPIO_SPEED_FREQ_LOW;
  HAL_GPIO_Init(GPIOC, &GPIO_InitStruct);

  /*Configure GPIO pins : VL53L0X_GPIO1_EXTI7_Pin LSM3MDL_DRDY_EXTI8_Pin */
  GPIO_InitStruct.Pin = VL53L0X_GPIO1_EXTI7_Pin|LSM3MDL_DRDY_EXTI8_Pin;
  GPIO_InitStruct.Mode = GPIO_MODE_IT_RISING;
  GPIO_InitStruct.Pull = GPIO_NOPULL;
  HAL_GPIO_Init(GPIOC, &GPIO_InitStruct);

  /*Configure GPIO pins : INTERNAL_SPI3_SCK_Pin INTERNAL_SPI3_MISO_Pin INTERNAL_SPI3_MOSI_Pin */
  GPIO_InitStruct.Pin = INTERNAL_SPI3_SCK_Pin|INTERNAL_SPI3_MISO_Pin|INTERNAL_SPI3_MOSI_Pin;
  GPIO_InitStruct.Mode = GPIO_MODE_AF_PP;
  GPIO_InitStruct.Pull = GPIO_NOPULL;
  GPIO_InitStruct.Speed = GPIO_SPEED_FREQ_VERY_HIGH;
  GPIO_InitStruct.Alternate = GPIO_AF6_SPI3;
  HAL_GPIO_Init(GPIOC, &GPIO_InitStruct);

  /*Configure GPIO pin : PMOD_SPI2_SCK_Pin */
  GPIO_InitStruct.Pin = PMOD_SPI2_SCK_Pin;
  GPIO_InitStruct.Mode = GPIO_MODE_AF_PP;
  GPIO_InitStruct.Pull = GPIO_NOPULL;
  GPIO_InitStruct.Speed = GPIO_SPEED_FREQ_VERY_HIGH;
  GPIO_InitStruct.Alternate = GPIO_AF5_SPI2;
  HAL_GPIO_Init(PMOD_SPI2_SCK_GPIO_Port, &GPIO_InitStruct);

  /*Configure GPIO pins : PMOD_UART2_CTS_Pin PMOD_UART2_RTS_Pin PMOD_UART2_TX_Pin PMOD_UART2_RX_Pin */
  GPIO_InitStruct.Pin = PMOD_UART2_CTS_Pin|PMOD_UART2_RTS_Pin|PMOD_UART2_TX_Pin|PMOD_UART2_RX_Pin;
  GPIO_InitStruct.Mode = GPIO_MODE_AF_PP;
  GPIO_InitStruct.Pull = GPIO_NOPULL;
  GPIO_InitStruct.Speed = GPIO_SPEED_FREQ_VERY_HIGH;
  GPIO_InitStruct.Alternate = GPIO_AF7_USART2;
  HAL_GPIO_Init(GPIOD, &GPIO_InitStruct);

  /*Configure GPIO pins : ST_LINK_UART1_TX_Pin ST_LINK_UART1_RX_Pin */
  GPIO_InitStruct.Pin = ST_LINK_UART1_TX_Pin|ST_LINK_UART1_RX_Pin;
  GPIO_InitStruct.Mode = GPIO_MODE_AF_PP;
  GPIO_InitStruct.Pull = GPIO_NOPULL;
  GPIO_InitStruct.Speed = GPIO_SPEED_FREQ_VERY_HIGH;
  GPIO_InitStruct.Alternate = GPIO_AF7_USART1;
  HAL_GPIO_Init(GPIOB, &GPIO_InitStruct);

  /*Configure GPIO pins : ARD_D15_Pin ARD_D14_Pin */
  GPIO_InitStruct.Pin = ARD_D15_Pin|ARD_D14_Pin;
  GPIO_InitStruct.Mode = GPIO_MODE_AF_OD;
  GPIO_InitStruct.Pull = GPIO_PULLUP;
  GPIO_InitStruct.Speed = GPIO_SPEED_FREQ_VERY_HIGH;
  GPIO_InitStruct.Alternate = GPIO_AF4_I2C1;
  HAL_GPIO_Init(GPIOB, &GPIO_InitStruct);

  /* EXTI interrupt init*/
  HAL_NVIC_SetPriority(EXTI9_5_IRQn, 0, 0);
  HAL_NVIC_EnableIRQ(EXTI9_5_IRQn);

  HAL_NVIC_SetPriority(EXTI15_10_IRQn, 0, 0);
  HAL_NVIC_EnableIRQ(EXTI15_10_IRQn);

}

/* USER CODE BEGIN 4 */

//extern void TIM_DMAPeriodElapsedCplt(DMA_HandleTypeDef *);
//extern void TIM_DMAPeriodElapsedHalfCplt(DMA_HandleTypeDef *);
/**
  * @brief  Starts the TIM Base generation in DMA mode. Modifié par acco parceque c"est des nazes les gars.
  * @param  htim TIM Base handle
  * @param  srcData The source Buffer address.
  * @param  destData The source Buffer address. (indépendant de direction)
  * @param  Length The length of data to be transferred from memory to peripheral.
  * @retval HAL status
  */
HAL_StatusTypeDef HALSUCKS_TIM_Base_Start_DMA(TIM_HandleTypeDef *htim, uint32_t *srcData, uint32_t* destData, uint16_t Length)
{
  uint32_t tmpsmcr;

  /* Check the parameters */
  assert_param(IS_TIM_DMA_INSTANCE(htim->Instance));

  /* Set the TIM state */
  if (htim->State == HAL_TIM_STATE_BUSY)
  {
    return HAL_BUSY;
  }
  else if (htim->State == HAL_TIM_STATE_READY)
  {
    if ((srcData == NULL) && (Length > 0U))
    {
      return HAL_ERROR;
    }
    else if ((destData == NULL) && (Length > 0U))
    {
      return HAL_ERROR;
    }
    else
    {
      htim->State = HAL_TIM_STATE_BUSY;
    }
  }
  else
  {
    return HAL_ERROR;
  }

  /* Set the DMA Period elapsed callbacks */
  //htim->hdma[TIM_DMA_ID_UPDATE]->XferCpltCallback = TIM_DMAPeriodElapsedCplt;
  //htim->hdma[TIM_DMA_ID_UPDATE]->XferHalfCpltCallback = TIM_DMAPeriodElapsedHalfCplt;

  /* Set the DMA error callback */
  //htim->hdma[TIM_DMA_ID_UPDATE]->XferErrorCallback = TIM_DMAError ;

  /* Enable the DMA channel */
  if (HAL_DMA_Start_IT(htim->hdma[TIM_DMA_ID_UPDATE], (uint32_t)srcData, (uint32_t)destData, Length) != HAL_OK)
  {
    /* Return error status */
    return HAL_ERROR;
  }

  /* Enable the TIM Update DMA request */
  __HAL_TIM_ENABLE_DMA(htim, TIM_DMA_UPDATE);

  /* Enable the Peripheral, except in trigger mode where enable is automatically done with trigger */
  if (IS_TIM_SLAVE_INSTANCE(htim->Instance))
  {
    tmpsmcr = htim->Instance->SMCR & TIM_SMCR_SMS;
    if (!IS_TIM_SLAVEMODE_TRIGGER_ENABLED(tmpsmcr))
    {
      __HAL_TIM_ENABLE(htim);
    }
  }
  else
  {
    __HAL_TIM_ENABLE(htim);
  }

  /* Return function status */
  return HAL_OK;
}

/* USER CODE END 4 */

void Error_Handler(void)
{
  __disable_irq();
  while (1)
  {
  }
}

/************************ (C) COPYRIGHT STMicroelectronics *****END OF FILE****/
